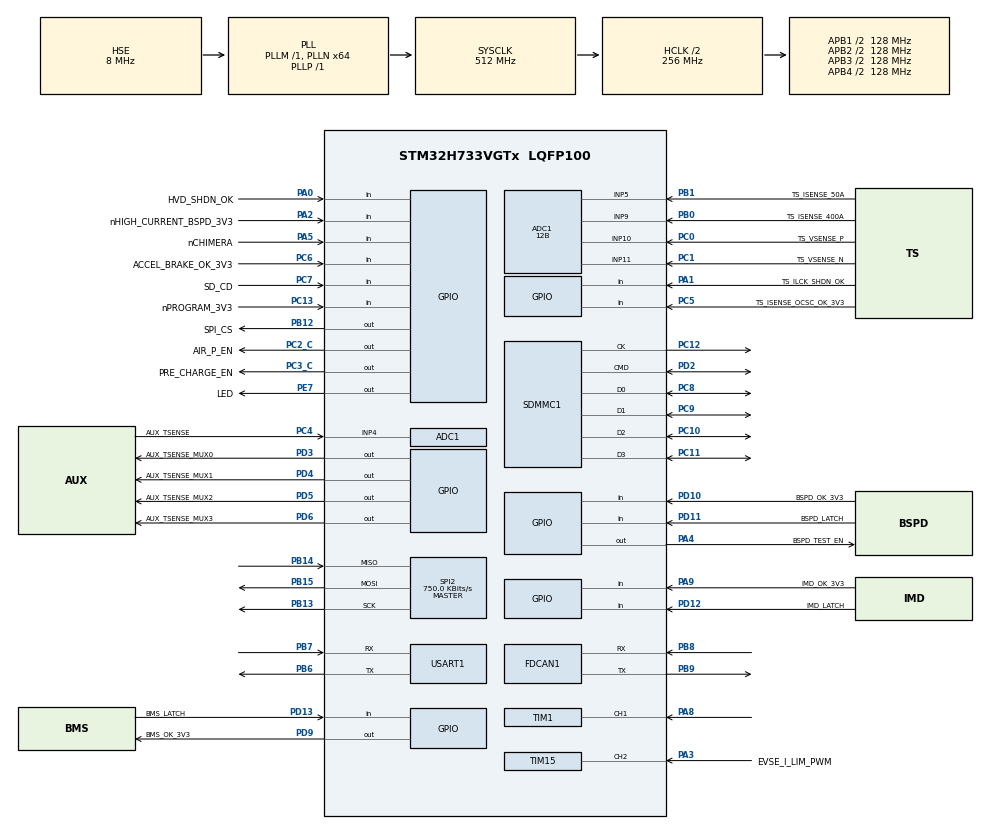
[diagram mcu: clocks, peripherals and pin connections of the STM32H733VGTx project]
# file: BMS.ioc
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ADC1.Channel-0\#ChannelRegularConversion=ADC_CHANNEL_4
ADC1.Channel-1\#ChannelRegularConversion=ADC_CHANNEL_5
ADC1.Channel-2\#ChannelRegularConversion=ADC_CHANNEL_9
ADC1.Channel-3\#ChannelRegularConversion=ADC_CHANNEL_10
ADC1.Channel-4\#ChannelRegularConversion=ADC_CHANNEL_11
ADC1.ClockPrescaler=ADC_CLOCK_SYNC_PCLK_DIV4
ADC1.ConversionDataManagement=ADC_CONVERSIONDATA_DMA_CIRCULAR
ADC1.ExternalTrigConv=ADC_EXTERNALTRIG_T3_TRGO
ADC1.NbrOfConversion=5
ADC1.NbrOfConversionFlag=1
ADC1.OffsetNumber-0\#ChannelRegularConversion=ADC_OFFSET_NONE
ADC1.OffsetNumber-1\#ChannelRegularConversion=ADC_OFFSET_NONE
ADC1.OffsetNumber-2\#ChannelRegularConversion=ADC_OFFSET_NONE
ADC1.OffsetNumber-3\#ChannelRegularConversion=ADC_OFFSET_NONE
ADC1.OffsetNumber-4\#ChannelRegularConversion=ADC_OFFSET_NONE
ADC1.OffsetSignedSaturation-0\#ChannelRegularConversion=DISABLE
ADC1.Rank-0\#ChannelRegularConversion=1
ADC1.Rank-1\#ChannelRegularConversion=2
ADC1.Rank-2\#ChannelRegularConversion=3
ADC1.Rank-3\#ChannelRegularConversion=4
ADC1.Rank-4\#ChannelRegularConversion=5
ADC1.Resolution=ADC_RESOLUTION_12B
ADC1.SamplingTime-0\#ChannelRegularConversion=ADC_SAMPLETIME_1CYCLE_5
ADC1.SamplingTime-1\#ChannelRegularConversion=ADC_SAMPLETIME_1CYCLE_5
ADC1.SamplingTime-2\#ChannelRegularConversion=ADC_SAMPLETIME_1CYCLE_5
ADC1.SamplingTime-3\#ChannelRegularConversion=ADC_SAMPLETIME_16CYCLES_5
ADC1.SamplingTime-4\#ChannelRegularConversion=ADC_SAMPLETIME_16CYCLES_5
ADC1.master=1
CORTEX_M7.CPU_DCache=Disabled
CORTEX_M7.CPU_ICache=Disabled
CRC.InputDataFormat=CRC_INPUTDATA_FORMAT_WORDS
Dma.ADC1.0.Direction=DMA_PERIPH_TO_MEMORY
Dma.ADC1.0.EventEnable=DISABLE
Dma.ADC1.0.FIFOMode=DMA_FIFOMODE_DISABLE
Dma.ADC1.0.Instance=DMA1_Stream0
Dma.ADC1.0.MemDataAlignment=DMA_MDATAALIGN_HALFWORD
Dma.ADC1.0.MemInc=DMA_MINC_ENABLE
Dma.ADC1.0.Mode=DMA_CIRCULAR
Dma.ADC1.0.PeriphDataAlignment=DMA_PDATAALIGN_HALFWORD
Dma.ADC1.0.PeriphInc=DMA_PINC_DISABLE
Dma.ADC1.0.Polarity=HAL_DMAMUX_REQ_GEN_RISING
Dma.ADC1.0.Priority=DMA_PRIORITY_LOW
Dma.ADC1.0.RequestNumber=1
Dma.ADC1.0.SignalID=NONE
Dma.ADC1.0.SyncEnable=DISABLE
Dma.ADC1.0.SyncPolarity=HAL_DMAMUX_SYNC_NO_EVENT
Dma.ADC1.0.SyncRequestNumber=1
Dma.ADC1.0.SyncSignalID=NONE
Dma.Request0=ADC1
FDCAN1.AutoRetransmission=ENABLE
FDCAN1.CalculateBaudRateNominal=500000
FDCAN1.CalculateTimeBitNominal=2000
FDCAN1.CalculateTimeQuantumNominal=125.0
FDCAN1.NominalPrescaler=12
FDCAN1.NominalSyncJumpWidth=3
FDCAN1.NominalTimeSeg1=12
FDCAN1.NominalTimeSeg2=3
FDCAN1.RxFifo0ElmtsNbr=1
FDCAN1.StdFiltersNbr=1
FDCAN1.TxFifoQueueElmtsNbr=1
FREERTOS.Tasks01=Task100Hz,40,2048,RunTask100Hz,Default,NULL,Static,Task100HzBuffer,Task100HzControlBlock;TaskCanRx,24,512,RunTaskCanRx,Default,NULL,Static,TaskCanRxBuffer,TaskCanRxControlBlock;TaskCanTx,24,512,RunTaskCanTx,Default,NULL,Static,TaskCanTxBuffer,TaskCanTxControlBlock;Task1kHz,48,512,RunTask1kHz,Default,NULL,Static,Task1kHzBuffer,Task1kHzControlBlock;Task1Hz,32,512,RunTask1Hz,Default,NULL,Static,Task1HzBuffer,Task1HzControlBlock;TaskLTC,32,512,RunTaskLTC,Default,NULL,Static,TaskLTCBuffer,TaskLTCControlBlock
FREERTOS.configENABLE_FPU=1
FREERTOS.configUSE_NEWLIB_REENTRANT=1
IWDG1.Reload=LSI_FREQUENCY /  IWDG_PRESCALER / IWDG_RESET_FREQUENCY
Mcu.Family=STM32H7
Mcu.Name=STM32H733VGTx
Mcu.Package=LQFP100
Mcu.UserConstants=TIM3_PRESCALER,8;ADC_FREQUENCY,1000;TIM1_AUTO_RELOAD_REG,0xFFFF;TIMx_FREQUENCY,512000000;IWDG_RESET_FREQUENCY,5;TASK1KHZ_STACK_SIZE,512;TIM1_FREQUENCY,256000000;TASK100HZ_STACK_SIZE,512;TASK1HZ_STACK_SIZE,512;IWDG_WINDOW_DISABLE_VALUE,4095;IWDG_PRESCALER,4;TASKCANRX_STACK_SIZE,512;TIM1_PWM_MIN_FREQUENCY,1;LSI_FREQUENCY,32000;TIM1_PRESCALER,(TIM1_FREQUENCY / TIM1_AUTO_RELOAD_REG / TIM1_PWM_MIN_FREQUENCY)
NVIC.DMA1_Stream0_IRQn=true\:5\:0\:false\:false\:true\:true\:false\:true\:true
NVIC.FDCAN1_IT0_IRQn=true\:5\:0\:false\:false\:true\:true\:true\:true\:true
NVIC.FDCAN1_IT1_IRQn=true\:5\:0\:false\:false\:true\:true\:true\:true\:true
NVIC.PriorityGroup=NVIC_PRIORITYGROUP_4
NVIC.SDMMC1_IRQn=true\:5\:0\:false\:false\:true\:true\:true\:true\:true
NVIC.SPI2_IRQn=true\:5\:0\:false\:false\:true\:true\:true\:true\:true
NVIC.TIM1_CC_IRQn=true\:5\:0\:false\:false\:true\:true\:true\:true\:true
NVIC.TIM2_IRQn=true\:15\:0\:false\:false\:true\:false\:false\:true\:true
NVIC.TIM3_IRQn=true\:5\:0\:false\:false\:true\:true\:true\:true\:true
NVIC.TimeBase=TIM2_IRQn
NVIC.TimeBaseIP=TIM2
NVIC.USART1_IRQn=true\:5\:0\:false\:false\:true\:true\:true\:true\:true
PA0.GPIO_Label=HVD_SHDN_OK
PA0.Signal=GPIO_Input
PA1.GPIO_Label=TS_ILCK_SHDN_OK
PA1.Signal=GPIO_Input
PA13(JTMS/SWDIO).Mode=Trace_Asynchronous_SW
PA13(JTMS/SWDIO).Signal=DEBUG_JTMS-SWDIO
PA14(JTCK/SWCLK).Mode=Trace_Asynchronous_SW
PA14(JTCK/SWCLK).Signal=DEBUG_JTCK-SWCLK
PA2.GPIO_Label=nHIGH_CURRENT_BSPD_3V3
PA2.Signal=GPIO_Input
PA3.GPIO_Label=EVSE_I_LIM_PWM
PA3.Signal=S_TIM15_CH2
PA4.GPIO_Label=BSPD_TEST_EN
PA4.Signal=GPIO_Output
PA5.GPIO_Label=nCHIMERA
PA5.GPIO_PuPd=GPIO_PULLUP
PA5.Signal=GPIO_Input
PA8.Signal=S_TIM1_CH1
PA9.GPIO_Label=IMD_OK_3V3
PA9.Signal=GPIO_Input
PB0.GPIO_Label=TS_ISENSE_400A
PB0.Signal=ADCx_INP9
PB1.GPIO_Label=TS_ISENSE_50A
PB1.Signal=ADCx_INP5
PB12.GPIO_Label=SPI_CS
PB12.GPIO_PuPd=GPIO_PULLDOWN
PB12.GPIO_Speed=GPIO_SPEED_FREQ_HIGH
PB12.PinState=GPIO_PIN_SET
PB12.Signal=GPIO_Output
PB13.GPIO_Mode=GPIO_MODE_AF_PP
PB13.GPIO_PuPd=GPIO_PULLDOWN
PB13.GPIO_Speed=GPIO_SPEED_FREQ_HIGH
PB13.Mode=Full_Duplex_Master
PB13.Signal=SPI2_SCK
PB14.GPIO_Mode=GPIO_MODE_AF_PP
PB14.GPIO_PuPd=GPIO_PULLUP
PB14.GPIO_Speed=GPIO_SPEED_FREQ_HIGH
PB14.Mode=Full_Duplex_Master
PB14.Signal=SPI2_MISO
PB15.GPIO_Mode=GPIO_MODE_AF_PP
PB15.GPIO_PuPd=GPIO_PULLDOWN
PB15.GPIO_Speed=GPIO_SPEED_FREQ_HIGH
PB15.Mode=Full_Duplex_Master
PB15.Signal=SPI2_MOSI
PB3(JTDO/TRACESWO).Mode=Trace_Asynchronous_SW
PB3(JTDO/TRACESWO).Signal=DEBUG_JTDO-SWO
PB6.Mode=Asynchronous
PB6.Signal=USART1_TX
PB7.Mode=Asynchronous
PB7.Signal=USART1_RX
PB8.GPIO_FM8=__NULL
PB8.GPIO_Speed=GPIO_SPEED_FREQ_VERY_HIGH
PB8.Mode=FDCAN_Activate
PB8.Signal=FDCAN1_RX
PB9.GPIO_Speed=GPIO_SPEED_FREQ_VERY_HIGH
PB9.Mode=FDCAN_Activate
PB9.Signal=FDCAN1_TX
PC0.GPIO_Label=TS_VSENSE_P
PC0.Signal=ADCx_INP10
PC1.GPIO_Label=TS_VSENSE_N
PC1.Signal=SharedAnalog_PC1
PC10.Mode=SD_4_bits_Wide_bus
PC10.Signal=SDMMC1_D2
PC11.Mode=SD_4_bits_Wide_bus
PC11.Signal=SDMMC1_D3
PC12.Mode=SD_4_bits_Wide_bus
PC12.Signal=SDMMC1_CK
PC13.GPIO_Label=nPROGRAM_3V3
PC13.GPIO_PuPd=GPIO_PULLUP
PC13.Signal=GPIO_Input
PC2_C.GPIO_Label=AIR_P_EN
PC2_C.Signal=GPIO_Output
PC3_C.GPIO_Label=PRE_CHARGE_EN
PC3_C.Signal=GPIO_Output
PC4.GPIO_Label=AUX_TSENSE
PC4.Signal=ADCx_INP4
PC5.GPIO_Label=TS_ISENSE_OCSC_OK_3V3
PC5.Signal=GPIO_Input
PC6.GPIO_Label=ACCEL_BRAKE_OK_3V3
PC6.Signal=GPIO_Input
PC7.GPIO_Label=SD_CD
PC7.Signal=GPIO_Input
PC8.Mode=SD_4_bits_Wide_bus
PC8.Signal=SDMMC1_D0
PC9.Mode=SD_4_bits_Wide_bus
PC9.Signal=SDMMC1_D1
PD10.GPIO_Label=BSPD_OK_3V3
PD10.Signal=GPIO_Input
PD11.GPIO_Label=BSPD_LATCH
PD11.Signal=GPIO_Input
PD12.GPIO_Label=IMD_LATCH
PD12.Signal=GPIO_Input
PD13.GPIO_Label=BMS_LATCH
PD13.Signal=GPIO_Input
PD2.Mode=SD_4_bits_Wide_bus
PD2.Signal=SDMMC1_CMD
PD3.GPIO_Label=AUX_TSENSE_MUX0
PD3.Signal=GPIO_Output
PD4.GPIO_Label=AUX_TSENSE_MUX1
PD4.Signal=GPIO_Output
PD5.GPIO_Label=AUX_TSENSE_MUX2
PD5.Signal=GPIO_Output
PD6.GPIO_Label=AUX_TSENSE_MUX3
PD6.Signal=GPIO_Output
PD9.GPIO_Label=BMS_OK_3V3
PD9.Signal=GPIO_Output
PE7.GPIO_Label=LED
PE7.Signal=GPIO_Output
PH0-OSC_IN.Mode=HSE-External-Oscillator
PH0-OSC_IN.Signal=RCC_OSC_IN
PH1-OSC_OUT.Mode=HSE-External-Oscillator
PH1-OSC_OUT.Signal=RCC_OSC_OUT
ProjectManager.HeapSize=0x200
ProjectManager.StackSize=0x400
ProjectManager.TargetToolchain=CMake
RCC.ADCFreq_Value=96000000
RCC.APB1Freq_Value=128000000
RCC.APB2Freq_Value=128000000
RCC.APB3Freq_Value=128000000
RCC.APB4Freq_Value=128000000
RCC.CortexFreq_Value=512000000
RCC.D1PPRE=RCC_APB3_DIV2
RCC.D2PPRE1=RCC_APB1_DIV2
RCC.D2PPRE2=RCC_APB2_DIV2
RCC.D3PPRE=RCC_APB4_DIV2
RCC.DIVM1=1
RCC.DIVM2=1
RCC.DIVN1=64
RCC.DIVN2=24
RCC.DIVP1=1
RCC.DIVQ1=4
RCC.FDCANCLockSelection=RCC_FDCANCLKSOURCE_PLL2
RCC.HCLKFreq_Value=256000000
RCC.HPRE=RCC_HCLK_DIV2
RCC.HSE_VALUE=8000000
RCC.PLL2FRACN=0
RCC.PLL3FRACN=0
RCC.PLLFRACN=0
RCC.PLLSourceVirtual=RCC_PLLSOURCE_HSE
RCC.PWR_Regulator_Voltage_Scale=PWR_REGULATOR_VOLTAGE_SCALE0
RCC.SPI123CLockSelection=RCC_SPI123CLKSOURCE_PLL2
RCC.SYSCLKFreq_VALUE=512000000
RCC.SYSCLKSource=RCC_SYSCLKSOURCE_PLLCLK
RCC.USBFreq_Value=128000000
SDMMC1.ClockDiv=9
SDMMC1.HardwareFlowControl=SDMMC_HARDWARE_FLOW_CONTROL_ENABLE
SH.ADCx_INP10.0=ADC1_INP10,IN10-Single-Ended
SH.ADCx_INP4.0=ADC1_INP4,IN4-Single-Ended
SH.ADCx_INP5.0=ADC1_INP5,IN5-Single-Ended
SH.ADCx_INP9.0=ADC1_INP9,IN9-Single-Ended
SH.S_TIM15_CH2.0=TIM15_CH2,Input_Capture2_from_TI2
SH.S_TIM1_CH1.0=TIM1_CH1,Input_Capture1_from_TI1
SH.S_TIM1_CH1.1=TIM1_CH1,TriggerSource_TI1FP1
SH.SharedAnalog_PC1.0=ADC1_INN10
SH.SharedAnalog_PC1.1=ADC1_INP11,IN11-Single-Ended
SPI2.BaudRatePrescaler=SPI_BAUDRATEPRESCALER_128
SPI2.CLKPhase=SPI_PHASE_2EDGE
SPI2.CLKPolarity=SPI_POLARITY_HIGH
SPI2.CalculateBaudRate=750.0 KBits/s
SPI2.DataSize=SPI_DATASIZE_8BIT
SPI2.Direction=SPI_DIRECTION_2LINES
SPI2.FifoThreshold=SPI_FIFO_THRESHOLD_01DATA
SPI2.IOSwap=SPI_IO_SWAP_DISABLE
SPI2.MasterInterDataIdleness=SPI_MASTER_INTERDATA_IDLENESS_00CYCLE
SPI2.MasterKeepIOState=SPI_MASTER_KEEP_IO_STATE_ENABLE
SPI2.MasterReceiverAutoSusp=SPI_MASTER_RX_AUTOSUSP_DISABLE
SPI2.MasterSSIdleness=SPI_MASTER_SS_IDLENESS_00CYCLE
SPI2.Mode=SPI_MODE_MASTER
SPI2.NSSPMode=SPI_NSS_PULSE_DISABLE
SPI2.NSSPolarity=SPI_NSS_POLARITY_LOW
SPI2.RxCRCInitializationPattern=SPI_CRC_INITIALIZATION_ALL_ZERO_PATTERN
SPI2.TxCRCInitializationPattern=SPI_CRC_INITIALIZATION_ALL_ZERO_PATTERN
SPI2.VirtualType=VM_MASTER
TIM1.Channel-Input_Capture1_from_TI1=TIM_CHANNEL_1
TIM1.Channel-Input_Capture2_from_TI1_63=TIM_CHANNEL_2
TIM1.ICPolarity_CH1=TIM_INPUTCHANNELPOLARITY_RISING
TIM1.ICPolarity_CH2=TIM_INPUTCHANNELPOLARITY_FALLING
TIM1.Period=TIM1_AUTO_RELOAD_REG
TIM1.Prescaler=TIM1_PRESCALER
TIM15.Channel-Input_Capture2_from_TI2=TIM_CHANNEL_2
TIM3.Period=(TIMx_FREQUENCY / TIM3_PRESCALER / ADC_FREQUENCY) - 1
TIM3.Prescaler=TIM3_PRESCALER - 1 
TIM3.TIM_MasterOutputTrigger=TIM_TRGO_UPDATE
USART1.VirtualMode-Asynchronous=VM_ASYNC
VP_CRC_VS_CRC.Mode=CRC_Activate
VP_FREERTOS_VS_CMSIS_V2.Mode=CMSIS_V2
VP_IWDG1_VS_IWDG.Mode=IWDG_Activate
VP_SYS_VS_tim2.Mode=TIM2
VP_TIM1_VS_ClockSourceINT.Mode=Internal
VP_TIM1_VS_ControllerModeReset.Mode=Reset Mode
VP_TIM1_VS_indirect_ch1.Mode=Input_Capture2_from_TI1_63
VP_TIM3_VS_ClockSourceINT.Mode=Internal
board=custom

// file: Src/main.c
/* USER CODE BEGIN Header */
/**
 ******************************************************************************
 * @file           : main.c
 * @brief          : Main program body
 ******************************************************************************
 * @attention
 *
 * <h2><center>&copy; Copyright (c) 2020 STMicroelectronics.
 * All rights reserved.</center></h2>
 *
 * This software component is licensed by ST under Ultimate Liberty license
 * SLA0044, the "License"; You may not use this file except in compliance with
 * the License. You may obtain a copy of the License at:
 *                             www.st.com/SLA0044
 *
 ******************************************************************************
 */
/* USER CODE END Header */
#include "main.h"
#include "cmsis_os.h"

/* USER CODE BEGIN Includes */
#include <stdbool.h>
#include <assert.h>
#include "tasks.h"
#include "hw_gpio.h"
#include "hw_error.h"
/* USER CODE END Includes */

typedef StaticTask_t osStaticThreadDef_t;

/* USER CODE BEGIN PD */
#define I2C_RECOVER_NUM_CLOCKS 10U    /* # clock cycles for recovery  */
#define I2C_RECOVER_CLOCK_FREQ 50000U /* clock frequency for recovery */
#define I2C_RECOVER_CLOCK_DELAY_MS (1000U / (2U * I2C_RECOVER_CLOCK_FREQ))
#define I2C1_SCL_PIN GPIO_PIN_6
#define I2C1_SCL_PORT GPIOB

/* USER CODE END PD */

ADC_HandleTypeDef hadc1;
DMA_HandleTypeDef hdma_adc1;

CRC_HandleTypeDef hcrc;

FDCAN_HandleTypeDef hfdcan1;

IWDG_HandleTypeDef hiwdg1;

SD_HandleTypeDef hsd1;

SPI_HandleTypeDef hspi2;

TIM_HandleTypeDef htim1;
TIM_HandleTypeDef htim3;
TIM_HandleTypeDef htim15;

UART_HandleTypeDef huart1;

/* Definitions for Task100Hz */
osThreadId_t         Task100HzHandle;
uint32_t             Task100HzBuffer[2048];
osStaticThreadDef_t  Task100HzControlBlock;
const osThreadAttr_t Task100Hz_attributes = {
    .name       = "Task100Hz",
    .cb_mem     = &Task100HzControlBlock,
    .cb_size    = sizeof(Task100HzControlBlock),
    .stack_mem  = &Task100HzBuffer[0],
    .stack_size = sizeof(Task100HzBuffer),
    .priority   = (osPriority_t)osPriorityHigh,
};
/* Definitions for TaskCanRx */
osThreadId_t         TaskCanRxHandle;
uint32_t             TaskCanRxBuffer[512];
osStaticThreadDef_t  TaskCanRxControlBlock;
const osThreadAttr_t TaskCanRx_attributes = {
    .name       = "TaskCanRx",
    .cb_mem     = &TaskCanRxControlBlock,
    .cb_size    = sizeof(TaskCanRxControlBlock),
    .stack_mem  = &TaskCanRxBuffer[0],
    .stack_size = sizeof(TaskCanRxBuffer),
    .priority   = (osPriority_t)osPriorityNormal,
};
/* Definitions for TaskCanTx */
osThreadId_t         TaskCanTxHandle;
uint32_t             TaskCanTxBuffer[512];
osStaticThreadDef_t  TaskCanTxControlBlock;
const osThreadAttr_t TaskCanTx_attributes = {
    .name       = "TaskCanTx",
    .cb_mem     = &TaskCanTxControlBlock,
    .cb_size    = sizeof(TaskCanTxControlBlock),
    .stack_mem  = &TaskCanTxBuffer[0],
    .stack_size = sizeof(TaskCanTxBuffer),
    .priority   = (osPriority_t)osPriorityNormal,
};
/* Definitions for Task1kHz */
osThreadId_t         Task1kHzHandle;
uint32_t             Task1kHzBuffer[512];
osStaticThreadDef_t  Task1kHzControlBlock;
const osThreadAttr_t Task1kHz_attributes = {
    .name       = "Task1kHz",
    .cb_mem     = &Task1kHzControlBlock,
    .cb_size    = sizeof(Task1kHzControlBlock),
    .stack_mem  = &Task1kHzBuffer[0],
    .stack_size = sizeof(Task1kHzBuffer),
    .priority   = (osPriority_t)osPriorityRealtime,
};
/* Definitions for Task1Hz */
osThreadId_t         Task1HzHandle;
uint32_t             Task1HzBuffer[512];
osStaticThreadDef_t  Task1HzControlBlock;
const osThreadAttr_t Task1Hz_attributes = {
    .name       = "Task1Hz",
    .cb_mem     = &Task1HzControlBlock,
    .cb_size    = sizeof(Task1HzControlBlock),
    .stack_mem  = &Task1HzBuffer[0],
    .stack_size = sizeof(Task1HzBuffer),
    .priority   = (osPriority_t)osPriorityAboveNormal,
};
/* Definitions for TaskLTC */
osThreadId_t         TaskLTCHandle;
uint32_t             TaskLTCBuffer[512];
osStaticThreadDef_t  TaskLTCControlBlock;
const osThreadAttr_t TaskLTC_attributes = {
    .name       = "TaskLTC",
    .cb_mem     = &TaskLTCControlBlock,
    .cb_size    = sizeof(TaskLTCControlBlock),
    .stack_mem  = &TaskLTCBuffer[0],
    .stack_size = sizeof(TaskLTCBuffer),
    .priority   = (osPriority_t)osPriorityAboveNormal,
};
/* USER CODE BEGIN PV */

const Gpio sd_cd = {
    .pin  = GPIO_PIN_8,
    .port = GPIOA,
};
bool sd_inited;
/* USER CODE END PV */

void        SystemClock_Config(void);
void        PeriphCommonClock_Config(void);
static void MX_GPIO_Init(void);
static void MX_DMA_Init(void);
static void MX_FDCAN1_Init(void);
static void MX_SPI2_Init(void);
static void MX_TIM15_Init(void);
static void MX_ADC1_Init(void);
static void MX_TIM1_Init(void);
static void MX_USART1_UART_Init(void);
static void MX_TIM3_Init(void);
static void MX_SDMMC1_SD_Init(void);
static void MX_CRC_Init(void);
static void MX_IWDG1_Init(void);
void        RunTask100Hz(void *argument);
void        RunTaskCanRx(void *argument);
void        RunTaskCanTx(void *argument);
void        RunTask1kHz(void *argument);
void        RunTask1Hz(void *argument);
void        RunTaskLTC(void *argument);

int main(void)
{
    /* USER CODE BEGIN 1 */
    tasks_preInit();
    /* USER CODE END 1 */

    /* MCU Configuration--------------------------------------------------------*/

    /* Reset of all peripherals, Initializes the Flash interface and the Systick. */
    HAL_Init();

    /* Configure the system clock */
    SystemClock_Config();

    /* Configure the peripherals common clocks */
    PeriphCommonClock_Config();

    /* Initialize all configured peripherals */
    MX_GPIO_Init();
    MX_DMA_Init();
    MX_FDCAN1_Init();
    MX_SPI2_Init();
    MX_TIM15_Init();
    MX_ADC1_Init();
    MX_TIM1_Init();
    MX_USART1_UART_Init();
    MX_TIM3_Init();
    MX_SDMMC1_SD_Init();
    MX_CRC_Init();
    MX_IWDG1_Init();
    /* USER CODE BEGIN 2 */
    tasks_init();
    /* USER CODE END 2 */

    /* Init scheduler */
    osKernelInitialize();

    /* Create the thread(s) */
    /* creation of Task100Hz */
    Task100HzHandle = osThreadNew(RunTask100Hz, NULL, &Task100Hz_attributes);

    /* creation of TaskCanRx */
    TaskCanRxHandle = osThreadNew(RunTaskCanRx, NULL, &TaskCanRx_attributes);

    /* creation of TaskCanTx */
    TaskCanTxHandle = osThreadNew(RunTaskCanTx, NULL, &TaskCanTx_attributes);

    /* creation of Task1kHz */
    Task1kHzHandle = osThreadNew(RunTask1kHz, NULL, &Task1kHz_attributes);

    /* creation of Task1Hz */
    Task1HzHandle = osThreadNew(RunTask1Hz, NULL, &Task1Hz_attributes);

    /* creation of TaskLTC */
    TaskLTCHandle = osThreadNew(RunTaskLTC, NULL, &TaskLTC_attributes);

    /* Start scheduler */
    osKernelStart();

    /* We should never get here as control is now taken by the scheduler */
    /* Infinite loop */
    while (1)
    {

    }
}

void SystemClock_Config(void)
{
    RCC_OscInitTypeDef RCC_OscInitStruct = { 0 };
    RCC_ClkInitTypeDef RCC_ClkInitStruct = { 0 };

    /** Supply configuration update enable
     */
    HAL_PWREx_ConfigSupply(PWR_LDO_SUPPLY);

    /** Configure the main internal regulator output voltage
     */
    __HAL_PWR_VOLTAGESCALING_CONFIG(PWR_REGULATOR_VOLTAGE_SCALE0);

    while (!__HAL_PWR_GET_FLAG(PWR_FLAG_VOSRDY))
    {
    }

    /** Initializes the RCC Oscillators according to the specified parameters
     * in the RCC_OscInitTypeDef structure.
     */
    RCC_OscInitStruct.OscillatorType = RCC_OSCILLATORTYPE_LSI | RCC_OSCILLATORTYPE_HSE;
    RCC_OscInitStruct.HSEState       = RCC_HSE_ON;
    RCC_OscInitStruct.LSIState       = RCC_LSI_ON;
    RCC_OscInitStruct.PLL.PLLState   = RCC_PLL_ON;
    RCC_OscInitStruct.PLL.PLLSource  = RCC_PLLSOURCE_HSE;
    RCC_OscInitStruct.PLL.PLLM       = 1;
    RCC_OscInitStruct.PLL.PLLN       = 64;
    RCC_OscInitStruct.PLL.PLLP       = 1;
    RCC_OscInitStruct.PLL.PLLQ       = 4;
    RCC_OscInitStruct.PLL.PLLR       = 2;
    RCC_OscInitStruct.PLL.PLLRGE     = RCC_PLL1VCIRANGE_3;
    RCC_OscInitStruct.PLL.PLLVCOSEL  = RCC_PLL1VCOWIDE;
    RCC_OscInitStruct.PLL.PLLFRACN   = 0;
    if (HAL_RCC_OscConfig(&RCC_OscInitStruct) != HAL_OK)
    {
        Error_Handler();
    }

    /** Initializes the CPU, AHB and APB buses clocks
     */
    RCC_ClkInitStruct.ClockType = RCC_CLOCKTYPE_HCLK | RCC_CLOCKTYPE_SYSCLK | RCC_CLOCKTYPE_PCLK1 |
                                  RCC_CLOCKTYPE_PCLK2 | RCC_CLOCKTYPE_D3PCLK1 | RCC_CLOCKTYPE_D1PCLK1;
    RCC_ClkInitStruct.SYSCLKSource   = RCC_SYSCLKSOURCE_PLLCLK;
    RCC_ClkInitStruct.SYSCLKDivider  = RCC_SYSCLK_DIV1;
    RCC_ClkInitStruct.AHBCLKDivider  = RCC_HCLK_DIV2;
    RCC_ClkInitStruct.APB3CLKDivider = RCC_APB3_DIV2;
    RCC_ClkInitStruct.APB1CLKDivider = RCC_APB1_DIV2;
    RCC_ClkInitStruct.APB2CLKDivider = RCC_APB2_DIV2;
    RCC_ClkInitStruct.APB4CLKDivider = RCC_APB4_DIV2;

    if (HAL_RCC_ClockConfig(&RCC_ClkInitStruct, FLASH_LATENCY_3) != HAL_OK)
    {
        Error_Handler();
    }
}

void PeriphCommonClock_Config(void)
{
    RCC_PeriphCLKInitTypeDef PeriphClkInitStruct = { 0 };

    /** Initializes the peripherals clock
     */
    PeriphClkInitStruct.PeriphClockSelection = RCC_PERIPHCLK_SPI2 | RCC_PERIPHCLK_FDCAN;
    PeriphClkInitStruct.PLL2.PLL2M           = 1;
    PeriphClkInitStruct.PLL2.PLL2N           = 24;
    PeriphClkInitStruct.PLL2.PLL2P           = 2;
    PeriphClkInitStruct.PLL2.PLL2Q           = 2;
    PeriphClkInitStruct.PLL2.PLL2R           = 2;
    PeriphClkInitStruct.PLL2.PLL2RGE         = RCC_PLL2VCIRANGE_3;
    PeriphClkInitStruct.PLL2.PLL2VCOSEL      = RCC_PLL2VCOWIDE;
    PeriphClkInitStruct.PLL2.PLL2FRACN       = 0;
    PeriphClkInitStruct.Spi123ClockSelection = RCC_SPI123CLKSOURCE_PLL2;
    PeriphClkInitStruct.FdcanClockSelection  = RCC_FDCANCLKSOURCE_PLL2;
    if (HAL_RCCEx_PeriphCLKConfig(&PeriphClkInitStruct) != HAL_OK)
    {
        Error_Handler();
    }
}

static void MX_ADC1_Init(void)
{

    ADC_MultiModeTypeDef   multimode = { 0 };
    ADC_ChannelConfTypeDef sConfig   = { 0 };

    /** Common config
     */
    hadc1.Instance                      = ADC1;
    hadc1.Init.ClockPrescaler           = ADC_CLOCK_SYNC_PCLK_DIV4;
    hadc1.Init.Resolution               = ADC_RESOLUTION_12B;
    hadc1.Init.ScanConvMode             = ADC_SCAN_ENABLE;
    hadc1.Init.EOCSelection             = ADC_EOC_SINGLE_CONV;
    hadc1.Init.LowPowerAutoWait         = DISABLE;
    hadc1.Init.ContinuousConvMode       = DISABLE;
    hadc1.Init.NbrOfConversion          = 5;
    hadc1.Init.DiscontinuousConvMode    = DISABLE;
    hadc1.Init.ExternalTrigConv         = ADC_EXTERNALTRIG_T3_TRGO;
    hadc1.Init.ExternalTrigConvEdge     = ADC_EXTERNALTRIGCONVEDGE_RISING;
    hadc1.Init.ConversionDataManagement = ADC_CONVERSIONDATA_DMA_CIRCULAR;
    hadc1.Init.Overrun                  = ADC_OVR_DATA_PRESERVED;
    hadc1.Init.LeftBitShift             = ADC_LEFTBITSHIFT_NONE;
    hadc1.Init.OversamplingMode         = DISABLE;
    if (HAL_ADC_Init(&hadc1) != HAL_OK)
    {
        Error_Handler();
    }

    /** Configure the ADC multi-mode
     */
    multimode.Mode = ADC_MODE_INDEPENDENT;
    if (HAL_ADCEx_MultiModeConfigChannel(&hadc1, &multimode) != HAL_OK)
    {
        Error_Handler();
    }

    /** Configure Regular Channel
     */
    sConfig.Channel                = ADC_CHANNEL_4;
    sConfig.Rank                   = ADC_REGULAR_RANK_1;
    sConfig.SamplingTime           = ADC_SAMPLETIME_1CYCLE_5;
    sConfig.SingleDiff             = ADC_SINGLE_ENDED;
    sConfig.OffsetNumber           = ADC_OFFSET_NONE;
    sConfig.Offset                 = 0;
    sConfig.OffsetSignedSaturation = DISABLE;
    if (HAL_ADC_ConfigChannel(&hadc1, &sConfig) != HAL_OK)
    {
        Error_Handler();
    }

    /** Configure Regular Channel
     */
    sConfig.Channel = ADC_CHANNEL_5;
    sConfig.Rank    = ADC_REGULAR_RANK_2;
    if (HAL_ADC_ConfigChannel(&hadc1, &sConfig) != HAL_OK)
    {
        Error_Handler();
    }

    /** Configure Regular Channel
     */
    sConfig.Channel = ADC_CHANNEL_9;
    sConfig.Rank    = ADC_REGULAR_RANK_3;
    if (HAL_ADC_ConfigChannel(&hadc1, &sConfig) != HAL_OK)
    {
        Error_Handler();
    }

    /** Configure Regular Channel
     */
    sConfig.Channel      = ADC_CHANNEL_10;
    sConfig.Rank         = ADC_REGULAR_RANK_4;
    sConfig.SamplingTime = ADC_SAMPLETIME_16CYCLES_5;
    if (HAL_ADC_ConfigChannel(&hadc1, &sConfig) != HAL_OK)
    {
        Error_Handler();
    }

    /** Configure Regular Channel
     */
    sConfig.Channel = ADC_CHANNEL_11;
    sConfig.Rank    = ADC_REGULAR_RANK_5;
    if (HAL_ADC_ConfigChannel(&hadc1, &sConfig) != HAL_OK)
    {
        Error_Handler();
    }
}

static void MX_CRC_Init(void)
{

    hcrc.Instance                     = CRC;
    hcrc.Init.DefaultPolynomialUse    = DEFAULT_POLYNOMIAL_ENABLE;
    hcrc.Init.DefaultInitValueUse     = DEFAULT_INIT_VALUE_ENABLE;
    hcrc.Init.InputDataInversionMode  = CRC_INPUTDATA_INVERSION_NONE;
    hcrc.Init.OutputDataInversionMode = CRC_OUTPUTDATA_INVERSION_DISABLE;
    hcrc.InputDataFormat              = CRC_INPUTDATA_FORMAT_WORDS;
    if (HAL_CRC_Init(&hcrc) != HAL_OK)
    {
        Error_Handler();
    }
}

static void MX_FDCAN1_Init(void)
{

    hfdcan1.Instance                  = FDCAN1;
    hfdcan1.Init.FrameFormat          = FDCAN_FRAME_CLASSIC;
    hfdcan1.Init.Mode                 = FDCAN_MODE_NORMAL;
    hfdcan1.Init.AutoRetransmission   = ENABLE;
    hfdcan1.Init.TransmitPause        = DISABLE;
    hfdcan1.Init.ProtocolException    = DISABLE;
    hfdcan1.Init.NominalPrescaler     = 12;
    hfdcan1.Init.NominalSyncJumpWidth = 3;
    hfdcan1.Init.NominalTimeSeg1      = 12;
    hfdcan1.Init.NominalTimeSeg2      = 3;
    hfdcan1.Init.DataPrescaler        = 1;
    hfdcan1.Init.DataSyncJumpWidth    = 1;
    hfdcan1.Init.DataTimeSeg1         = 1;
    hfdcan1.Init.DataTimeSeg2         = 1;
    hfdcan1.Init.MessageRAMOffset     = 0;
    hfdcan1.Init.StdFiltersNbr        = 1;
    hfdcan1.Init.ExtFiltersNbr        = 0;
    hfdcan1.Init.RxFifo0ElmtsNbr      = 1;
    hfdcan1.Init.RxFifo0ElmtSize      = FDCAN_DATA_BYTES_8;
    hfdcan1.Init.RxFifo1ElmtsNbr      = 0;
    hfdcan1.Init.RxFifo1ElmtSize      = FDCAN_DATA_BYTES_8;
    hfdcan1.Init.RxBuffersNbr         = 0;
    hfdcan1.Init.RxBufferSize         = FDCAN_DATA_BYTES_8;
    hfdcan1.Init.TxEventsNbr          = 0;
    hfdcan1.Init.TxBuffersNbr         = 0;
    hfdcan1.Init.TxFifoQueueElmtsNbr  = 1;
    hfdcan1.Init.TxFifoQueueMode      = FDCAN_TX_FIFO_OPERATION;
    hfdcan1.Init.TxElmtSize           = FDCAN_DATA_BYTES_8;
    if (HAL_FDCAN_Init(&hfdcan1) != HAL_OK)
    {
        Error_Handler();
    }
}

static void MX_IWDG1_Init(void)
{

    hiwdg1.Instance       = IWDG1;
    hiwdg1.Init.Prescaler = IWDG_PRESCALER_4;
    hiwdg1.Init.Window    = 4095;
    hiwdg1.Init.Reload    = LSI_FREQUENCY / IWDG_PRESCALER / IWDG_RESET_FREQUENCY;
    if (HAL_IWDG_Init(&hiwdg1) != HAL_OK)
    {
        Error_Handler();
    }
}

static void MX_SDMMC1_SD_Init(void)
{
    /* USER CODE BEGIN SDMMC1_Init 0 */
    if (hw_gpio_readPin(&sd_cd))
    {
        sd_inited = false;
        return;
    }
    /* USER CODE END SDMMC1_Init 0 */

    hsd1.Instance                 = SDMMC1;
    hsd1.Init.ClockEdge           = SDMMC_CLOCK_EDGE_RISING;
    hsd1.Init.ClockPowerSave      = SDMMC_CLOCK_POWER_SAVE_DISABLE;
    hsd1.Init.BusWide             = SDMMC_BUS_WIDE_4B;
    hsd1.Init.HardwareFlowControl = SDMMC_HARDWARE_FLOW_CONTROL_ENABLE;
    hsd1.Init.ClockDiv            = 9;
    if (HAL_SD_Init(&hsd1) != HAL_OK)
    {
        Error_Handler();
    }
    /* USER CODE BEGIN SDMMC1_Init 2 */
    sd_inited = true;
    // HAL_SD_ConfigWideBusOperation(&hsd1, SDMMC_BUS_WIDE_4B);
    /* USER CODE END SDMMC1_Init 2 */
}

static void MX_SPI2_Init(void)
{

    /* SPI2 parameter configuration*/
    hspi2.Instance                        = SPI2;
    hspi2.Init.Mode                       = SPI_MODE_MASTER;
    hspi2.Init.Direction                  = SPI_DIRECTION_2LINES;
    hspi2.Init.DataSize                   = SPI_DATASIZE_8BIT;
    hspi2.Init.CLKPolarity                = SPI_POLARITY_HIGH;
    hspi2.Init.CLKPhase                   = SPI_PHASE_2EDGE;
    hspi2.Init.NSS                        = SPI_NSS_SOFT;
    hspi2.Init.BaudRatePrescaler          = SPI_BAUDRATEPRESCALER_128;
    hspi2.Init.FirstBit                   = SPI_FIRSTBIT_MSB;
    hspi2.Init.TIMode                     = SPI_TIMODE_DISABLE;
    hspi2.Init.CRCCalculation             = SPI_CRCCALCULATION_DISABLE;
    hspi2.Init.CRCPolynomial              = 0x0;
    hspi2.Init.NSSPMode                   = SPI_NSS_PULSE_DISABLE;
    hspi2.Init.NSSPolarity                = SPI_NSS_POLARITY_LOW;
    hspi2.Init.FifoThreshold              = SPI_FIFO_THRESHOLD_01DATA;
    hspi2.Init.TxCRCInitializationPattern = SPI_CRC_INITIALIZATION_ALL_ZERO_PATTERN;
    hspi2.Init.RxCRCInitializationPattern = SPI_CRC_INITIALIZATION_ALL_ZERO_PATTERN;
    hspi2.Init.MasterSSIdleness           = SPI_MASTER_SS_IDLENESS_00CYCLE;
    hspi2.Init.MasterInterDataIdleness    = SPI_MASTER_INTERDATA_IDLENESS_00CYCLE;
    hspi2.Init.MasterReceiverAutoSusp     = SPI_MASTER_RX_AUTOSUSP_DISABLE;
    hspi2.Init.MasterKeepIOState          = SPI_MASTER_KEEP_IO_STATE_ENABLE;
    hspi2.Init.IOSwap                     = SPI_IO_SWAP_DISABLE;
    if (HAL_SPI_Init(&hspi2) != HAL_OK)
    {
        Error_Handler();
    }
}

static void MX_TIM1_Init(void)
{

    TIM_ClockConfigTypeDef  sClockSourceConfig = { 0 };
    TIM_SlaveConfigTypeDef  sSlaveConfig       = { 0 };
    TIM_MasterConfigTypeDef sMasterConfig      = { 0 };
    TIM_IC_InitTypeDef      sConfigIC          = { 0 };

    htim1.Instance               = TIM1;
    htim1.Init.Prescaler         = TIM1_PRESCALER;
    htim1.Init.CounterMode       = TIM_COUNTERMODE_UP;
    htim1.Init.Period            = TIM1_AUTO_RELOAD_REG;
    htim1.Init.ClockDivision     = TIM_CLOCKDIVISION_DIV1;
    htim1.Init.RepetitionCounter = 0;
    htim1.Init.AutoReloadPreload = TIM_AUTORELOAD_PRELOAD_DISABLE;
    if (HAL_TIM_Base_Init(&htim1) != HAL_OK)
    {
        Error_Handler();
    }
    sClockSourceConfig.ClockSource = TIM_CLOCKSOURCE_INTERNAL;
    if (HAL_TIM_ConfigClockSource(&htim1, &sClockSourceConfig) != HAL_OK)
    {
        Error_Handler();
    }
    if (HAL_TIM_IC_Init(&htim1) != HAL_OK)
    {
        Error_Handler();
    }
    sSlaveConfig.SlaveMode       = TIM_SLAVEMODE_RESET;
    sSlaveConfig.InputTrigger    = TIM_TS_TI1FP1;
    sSlaveConfig.TriggerPolarity = TIM_INPUTCHANNELPOLARITY_RISING;
    sSlaveConfig.TriggerFilter   = 0;
    if (HAL_TIM_SlaveConfigSynchro(&htim1, &sSlaveConfig) != HAL_OK)
    {
        Error_Handler();
    }
    sMasterConfig.MasterOutputTrigger  = TIM_TRGO_RESET;
    sMasterConfig.MasterOutputTrigger2 = TIM_TRGO2_RESET;
    sMasterConfig.MasterSlaveMode      = TIM_MASTERSLAVEMODE_DISABLE;
    if (HAL_TIMEx_MasterConfigSynchronization(&htim1, &sMasterConfig) != HAL_OK)
    {
        Error_Handler();
    }
    sConfigIC.ICPolarity  = TIM_INPUTCHANNELPOLARITY_RISING;
    sConfigIC.ICSelection = TIM_ICSELECTION_DIRECTTI;
    sConfigIC.ICPrescaler = TIM_ICPSC_DIV1;
    sConfigIC.ICFilter    = 0;
    if (HAL_TIM_IC_ConfigChannel(&htim1, &sConfigIC, TIM_CHANNEL_1) != HAL_OK)
    {
        Error_Handler();
    }
    sConfigIC.ICPolarity  = TIM_INPUTCHANNELPOLARITY_FALLING;
    sConfigIC.ICSelection = TIM_ICSELECTION_INDIRECTTI;
    if (HAL_TIM_IC_ConfigChannel(&htim1, &sConfigIC, TIM_CHANNEL_2) != HAL_OK)
    {
        Error_Handler();
    }
}

static void MX_TIM3_Init(void)
{

    TIM_ClockConfigTypeDef  sClockSourceConfig = { 0 };
    TIM_MasterConfigTypeDef sMasterConfig      = { 0 };

    htim3.Instance               = TIM3;
    htim3.Init.Prescaler         = TIM3_PRESCALER - 1;
    htim3.Init.CounterMode       = TIM_COUNTERMODE_UP;
    htim3.Init.Period            = (TIMx_FREQUENCY / TIM3_PRESCALER / ADC_FREQUENCY) - 1;
    htim3.Init.ClockDivision     = TIM_CLOCKDIVISION_DIV1;
    htim3.Init.AutoReloadPreload = TIM_AUTORELOAD_PRELOAD_DISABLE;
    if (HAL_TIM_Base_Init(&htim3) != HAL_OK)
    {
        Error_Handler();
    }
    sClockSourceConfig.ClockSource = TIM_CLOCKSOURCE_INTERNAL;
    if (HAL_TIM_ConfigClockSource(&htim3, &sClockSourceConfig) != HAL_OK)
    {
        Error_Handler();
    }
    sMasterConfig.MasterOutputTrigger = TIM_TRGO_UPDATE;
    sMasterConfig.MasterSlaveMode     = TIM_MASTERSLAVEMODE_DISABLE;
    if (HAL_TIMEx_MasterConfigSynchronization(&htim3, &sMasterConfig) != HAL_OK)
    {
        Error_Handler();
    }
}

static void MX_TIM15_Init(void)
{

    TIM_MasterConfigTypeDef sMasterConfig = { 0 };
    TIM_IC_InitTypeDef      sConfigIC     = { 0 };

    htim15.Instance               = TIM15;
    htim15.Init.Prescaler         = 0;
    htim15.Init.CounterMode       = TIM_COUNTERMODE_UP;
    htim15.Init.Period            = 65535;
    htim15.Init.ClockDivision     = TIM_CLOCKDIVISION_DIV1;
    htim15.Init.RepetitionCounter = 0;
    htim15.Init.AutoReloadPreload = TIM_AUTORELOAD_PRELOAD_DISABLE;
    if (HAL_TIM_IC_Init(&htim15) != HAL_OK)
    {
        Error_Handler();
    }
    sMasterConfig.MasterOutputTrigger = TIM_TRGO_RESET;
    sMasterConfig.MasterSlaveMode     = TIM_MASTERSLAVEMODE_DISABLE;
    if (HAL_TIMEx_MasterConfigSynchronization(&htim15, &sMasterConfig) != HAL_OK)
    {
        Error_Handler();
    }
    sConfigIC.ICPolarity  = TIM_INPUTCHANNELPOLARITY_RISING;
    sConfigIC.ICSelection = TIM_ICSELECTION_DIRECTTI;
    sConfigIC.ICPrescaler = TIM_ICPSC_DIV1;
    sConfigIC.ICFilter    = 0;
    if (HAL_TIM_IC_ConfigChannel(&htim15, &sConfigIC, TIM_CHANNEL_2) != HAL_OK)
    {
        Error_Handler();
    }
}

static void MX_USART1_UART_Init(void)
{

    huart1.Instance                    = USART1;
    huart1.Init.BaudRate               = 115200;
    huart1.Init.WordLength             = UART_WORDLENGTH_8B;
    huart1.Init.StopBits               = UART_STOPBITS_1;
    huart1.Init.Parity                 = UART_PARITY_NONE;
    huart1.Init.Mode                   = UART_MODE_TX_RX;
    huart1.Init.HwFlowCtl              = UART_HWCONTROL_NONE;
    huart1.Init.OverSampling           = UART_OVERSAMPLING_16;
    huart1.Init.OneBitSampling         = UART_ONE_BIT_SAMPLE_DISABLE;
    huart1.Init.ClockPrescaler         = UART_PRESCALER_DIV1;
    huart1.AdvancedInit.AdvFeatureInit = UART_ADVFEATURE_NO_INIT;
    if (HAL_UART_Init(&huart1) != HAL_OK)
    {
        Error_Handler();
    }
    if (HAL_UARTEx_SetTxFifoThreshold(&huart1, UART_TXFIFO_THRESHOLD_1_8) != HAL_OK)
    {
        Error_Handler();
    }
    if (HAL_UARTEx_SetRxFifoThreshold(&huart1, UART_RXFIFO_THRESHOLD_1_8) != HAL_OK)
    {
        Error_Handler();
    }
    if (HAL_UARTEx_DisableFifoMode(&huart1) != HAL_OK)
    {
        Error_Handler();
    }
}

static void MX_DMA_Init(void)
{
    /* DMA controller clock enable */
    __HAL_RCC_DMA1_CLK_ENABLE();

    /* DMA interrupt init */
    /* DMA1_Stream0_IRQn interrupt configuration */
    HAL_NVIC_SetPriority(DMA1_Stream0_IRQn, 5, 0);
    HAL_NVIC_EnableIRQ(DMA1_Stream0_IRQn);
}

static void MX_GPIO_Init(void)
{
    GPIO_InitTypeDef GPIO_InitStruct = { 0 };

    /* GPIO Ports Clock Enable */
    __HAL_RCC_GPIOC_CLK_ENABLE();
    __HAL_RCC_GPIOH_CLK_ENABLE();
    __HAL_RCC_GPIOA_CLK_ENABLE();
    __HAL_RCC_GPIOB_CLK_ENABLE();
    __HAL_RCC_GPIOE_CLK_ENABLE();
    __HAL_RCC_GPIOD_CLK_ENABLE();

    /*Configure GPIO pin Output Level */
    HAL_GPIO_WritePin(GPIOC, AIR_P_EN_Pin | PRE_CHARGE_EN_Pin, GPIO_PIN_RESET);

    /*Configure GPIO pin Output Level */
    HAL_GPIO_WritePin(BSPD_TEST_EN_GPIO_Port, BSPD_TEST_EN_Pin, GPIO_PIN_RESET);

    /*Configure GPIO pin Output Level */
    HAL_GPIO_WritePin(LED_GPIO_Port, LED_Pin, GPIO_PIN_RESET);

    /*Configure GPIO pin Output Level */
    HAL_GPIO_WritePin(SPI_CS_GPIO_Port, SPI_CS_Pin, GPIO_PIN_SET);

    /*Configure GPIO pin Output Level */
    HAL_GPIO_WritePin(
        GPIOD, BMS_OK_3V3_Pin | AUX_TSENSE_MUX0_Pin | AUX_TSENSE_MUX1_Pin | AUX_TSENSE_MUX2_Pin | AUX_TSENSE_MUX3_Pin,
        GPIO_PIN_RESET);

    /*Configure GPIO pin : nPROGRAM_3V3_Pin */
    GPIO_InitStruct.Pin  = nPROGRAM_3V3_Pin;
    GPIO_InitStruct.Mode = GPIO_MODE_INPUT;
    GPIO_InitStruct.Pull = GPIO_PULLUP;
    HAL_GPIO_Init(nPROGRAM_3V3_GPIO_Port, &GPIO_InitStruct);

    /*Configure GPIO pins : AIR_P_EN_Pin PRE_CHARGE_EN_Pin */
    GPIO_InitStruct.Pin   = AIR_P_EN_Pin | PRE_CHARGE_EN_Pin;
    GPIO_InitStruct.Mode  = GPIO_MODE_OUTPUT_PP;
    GPIO_InitStruct.Pull  = GPIO_NOPULL;
    GPIO_InitStruct.Speed = GPIO_SPEED_FREQ_LOW;
    HAL_GPIO_Init(GPIOC, &GPIO_InitStruct);

    /*Configure GPIO pins : HVD_SHDN_OK_Pin TS_ILCK_SHDN_OK_Pin nHIGH_CURRENT_BSPD_3V3_Pin IMD_OK_3V3_Pin */
    GPIO_InitStruct.Pin  = HVD_SHDN_OK_Pin | TS_ILCK_SHDN_OK_Pin | nHIGH_CURRENT_BSPD_3V3_Pin | IMD_OK_3V3_Pin;
    GPIO_InitStruct.Mode = GPIO_MODE_INPUT;
    GPIO_InitStruct.Pull = GPIO_NOPULL;
    HAL_GPIO_Init(GPIOA, &GPIO_InitStruct);

    /*Configure GPIO pin : BSPD_TEST_EN_Pin */
    GPIO_InitStruct.Pin   = BSPD_TEST_EN_Pin;
    GPIO_InitStruct.Mode  = GPIO_MODE_OUTPUT_PP;
    GPIO_InitStruct.Pull  = GPIO_NOPULL;
    GPIO_InitStruct.Speed = GPIO_SPEED_FREQ_LOW;
    HAL_GPIO_Init(BSPD_TEST_EN_GPIO_Port, &GPIO_InitStruct);

    /*Configure GPIO pin : nCHIMERA_Pin */
    GPIO_InitStruct.Pin  = nCHIMERA_Pin;
    GPIO_InitStruct.Mode = GPIO_MODE_INPUT;
    GPIO_InitStruct.Pull = GPIO_PULLUP;
    HAL_GPIO_Init(nCHIMERA_GPIO_Port, &GPIO_InitStruct);

    /*Configure GPIO pins : TS_ISENSE_OCSC_OK_3V3_Pin ACCEL_BRAKE_OK_3V3_Pin SD_CD_Pin */
    GPIO_InitStruct.Pin  = TS_ISENSE_OCSC_OK_3V3_Pin | ACCEL_BRAKE_OK_3V3_Pin | SD_CD_Pin;
    GPIO_InitStruct.Mode = GPIO_MODE_INPUT;
    GPIO_InitStruct.Pull = GPIO_NOPULL;
    HAL_GPIO_Init(GPIOC, &GPIO_InitStruct);

    /*Configure GPIO pin : LED_Pin */
    GPIO_InitStruct.Pin   = LED_Pin;
    GPIO_InitStruct.Mode  = GPIO_MODE_OUTPUT_PP;
    GPIO_InitStruct.Pull  = GPIO_NOPULL;
    GPIO_InitStruct.Speed = GPIO_SPEED_FREQ_LOW;
    HAL_GPIO_Init(LED_GPIO_Port, &GPIO_InitStruct);

    /*Configure GPIO pin : SPI_CS_Pin */
    GPIO_InitStruct.Pin   = SPI_CS_Pin;
    GPIO_InitStruct.Mode  = GPIO_MODE_OUTPUT_PP;
    GPIO_InitStruct.Pull  = GPIO_PULLDOWN;
    GPIO_InitStruct.Speed = GPIO_SPEED_FREQ_HIGH;
    HAL_GPIO_Init(SPI_CS_GPIO_Port, &GPIO_InitStruct);

    /*Configure GPIO pins : BMS_OK_3V3_Pin AUX_TSENSE_MUX0_Pin AUX_TSENSE_MUX1_Pin AUX_TSENSE_MUX2_Pin
                             AUX_TSENSE_MUX3_Pin */
    GPIO_InitStruct.Pin =
        BMS_OK_3V3_Pin | AUX_TSENSE_MUX0_Pin | AUX_TSENSE_MUX1_Pin | AUX_TSENSE_MUX2_Pin | AUX_TSENSE_MUX3_Pin;
    GPIO_InitStruct.Mode  = GPIO_MODE_OUTPUT_PP;
    GPIO_InitStruct.Pull  = GPIO_NOPULL;
    GPIO_InitStruct.Speed = GPIO_SPEED_FREQ_LOW;
    HAL_GPIO_Init(GPIOD, &GPIO_InitStruct);

    /*Configure GPIO pins : BSPD_OK_3V3_Pin BSPD_LATCH_Pin IMD_LATCH_Pin BMS_LATCH_Pin */
    GPIO_InitStruct.Pin  = BSPD_OK_3V3_Pin | BSPD_LATCH_Pin | IMD_LATCH_Pin | BMS_LATCH_Pin;
    GPIO_InitStruct.Mode = GPIO_MODE_INPUT;
    GPIO_InitStruct.Pull = GPIO_NOPULL;
    HAL_GPIO_Init(GPIOD, &GPIO_InitStruct);

}

void RunTask100Hz(void *argument)
{
    /* USER CODE BEGIN 5 */
    UNUSED(argument);
    tasks_run100Hz();
    /* USER CODE END 5 */
}

void RunTaskCanRx(void *argument)
{
    /* USER CODE BEGIN RunTaskCanRx */
    UNUSED(argument);
    tasks_runCanRx();
    /* USER CODE END RunTaskCanRx */
}

void RunTaskCanTx(void *argument)
{
    /* USER CODE BEGIN RunTaskCanTx */
    UNUSED(argument);
    tasks_runCanTx();
    /* USER CODE END RunTaskCanTx */
}

void RunTask1kHz(void *argument)
{
    /* USER CODE BEGIN RunTask1kHz */
    UNUSED(argument);
    tasks_run1kHz();
    /* USER CODE END RunTask1kHz */
}

void RunTask1Hz(void *argument)
{
    /* USER CODE BEGIN RunTask1Hz */
    UNUSED(argument);
    tasks_run1Hz();
    /* USER CODE END RunTask1Hz */
}

void RunTaskLTC(void *argument)
{
    /* USER CODE BEGIN RunTaskLTC */
    /* Infinite loop */
    for (;;)
    {
        tasks_runLtc();
    }
    /* USER CODE END RunTaskLTC */
}

void HAL_TIM_PeriodElapsedCallback(TIM_HandleTypeDef *htim)
{
    if (htim->Instance == TIM2)
    {
        HAL_IncTick();
    }
}

void Error_Handler(void)
{
    /* USER CODE BEGIN Error_Handler_Debug */
    __assert_func(__FILE__, __LINE__, "Error_Handler", "Error_Handler");
    /* USER CODE END Error_Handler_Debug */
}

#ifdef USE_FULL_ASSERT
/**
 * @brief  Reports the name of the source file and the source line number
 *         where the assert_param error has occurred.
 * @param  file: pointer to the source file name
 * @param  line: assert_param error line source number
 * @retval None
 */
void assert_failed(uint8_t *file, uint32_t line)
{
    /* USER CODE BEGIN 6 */
    __assert_func(file, line, "assert_failed", "assert_failed");
    /* USER CODE END 6 */
}
#endif /* USE_FULL_ASSERT */
